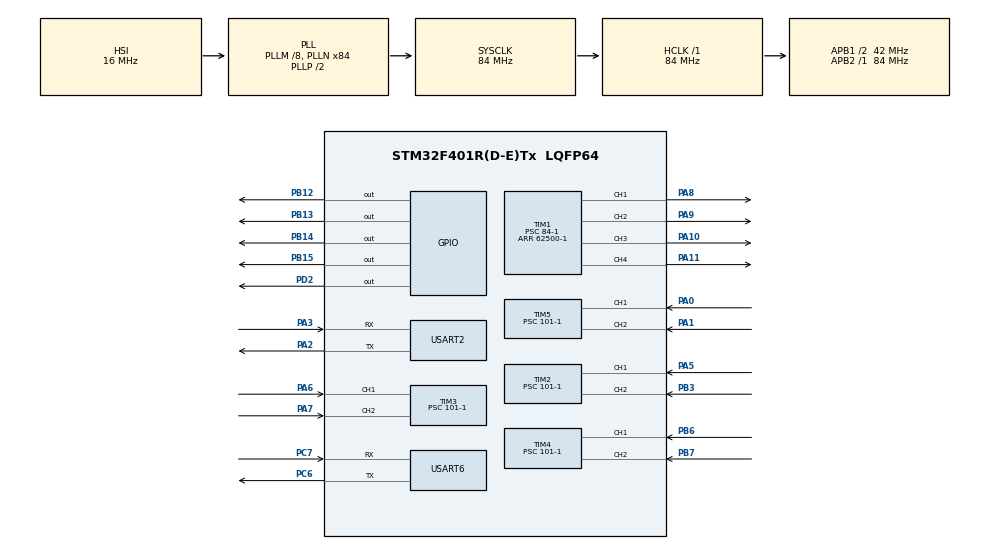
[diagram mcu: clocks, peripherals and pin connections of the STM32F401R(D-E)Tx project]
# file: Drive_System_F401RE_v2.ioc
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Dma.Request0=USART2_RX
Dma.USART2_RX.0.Direction=DMA_PERIPH_TO_MEMORY
Dma.USART2_RX.0.FIFOMode=DMA_FIFOMODE_DISABLE
Dma.USART2_RX.0.Instance=DMA1_Stream5
Dma.USART2_RX.0.MemDataAlignment=DMA_MDATAALIGN_BYTE
Dma.USART2_RX.0.MemInc=DMA_MINC_ENABLE
Dma.USART2_RX.0.Mode=DMA_CIRCULAR
Dma.USART2_RX.0.PeriphDataAlignment=DMA_PDATAALIGN_BYTE
Dma.USART2_RX.0.PeriphInc=DMA_PINC_DISABLE
Dma.USART2_RX.0.Priority=DMA_PRIORITY_HIGH
Mcu.Family=STM32F4
Mcu.Name=STM32F401R(D-E)Tx
Mcu.Package=LQFP64
NVIC.DMA1_Stream5_IRQn=true\:0\:0\:false\:false\:true\:false\:true\:true
NVIC.PriorityGroup=NVIC_PRIORITYGROUP_0
NVIC.TIM1_BRK_TIM9_IRQn=true\:0\:0\:false\:false\:true\:true\:true\:true
PA0-WKUP.Signal=S_TIM5_CH1
PA1.Signal=S_TIM5_CH2
PA10.Signal=S_TIM1_CH3
PA11.Signal=S_TIM1_CH4
PA2.Mode=Asynchronous
PA2.Signal=USART2_TX
PA3.Mode=Asynchronous
PA3.Signal=USART2_RX
PA5.Signal=S_TIM2_CH1_ETR
PA6.Signal=S_TIM3_CH1
PA7.Signal=S_TIM3_CH2
PA8.Signal=S_TIM1_CH1
PA9.Signal=S_TIM1_CH2
PB12.Signal=GPIO_Output
PB13.Signal=GPIO_Output
PB14.Signal=GPIO_Output
PB15.Signal=GPIO_Output
PB3.Signal=S_TIM2_CH2
PB6.Signal=S_TIM4_CH1
PB7.Signal=S_TIM4_CH2
PC6.Mode=Asynchronous
PC6.Signal=USART6_TX
PC7.Mode=Asynchronous
PC7.Signal=USART6_RX
PD2.Signal=GPIO_Output
ProjectManager.HeapSize=0x200
ProjectManager.StackSize=0x400
ProjectManager.TargetToolchain=STM32CubeIDE
RCC.48MHZClocksFreq_Value=24000000
RCC.AHBFreq_Value=84000000
RCC.APB1CLKDivider=RCC_HCLK_DIV2
RCC.APB1Freq_Value=42000000
RCC.APB1TimFreq_Value=84000000
RCC.APB2Freq_Value=84000000
RCC.APB2TimFreq_Value=84000000
RCC.CortexFreq_Value=84000000
RCC.HCLKFreq_Value=84000000
RCC.HSE_VALUE=8000000
RCC.HSI_VALUE=16000000
RCC.LSE_VALUE=32768
RCC.PLLM=8
RCC.PLLN=84
RCC.PLLQ=7
RCC.SYSCLKFreq_VALUE=84000000
RCC.SYSCLKSource=RCC_SYSCLKSOURCE_PLLCLK
RCC.VCOOutputFreq_Value=168000000
SH.S_TIM1_CH1.0=TIM1_CH1,PWM Generation1 CH1
SH.S_TIM1_CH2.0=TIM1_CH2,PWM Generation2 CH2
SH.S_TIM1_CH3.0=TIM1_CH3,PWM Generation3 CH3
SH.S_TIM1_CH4.0=TIM1_CH4,PWM Generation4 CH4
SH.S_TIM2_CH1_ETR.0=TIM2_CH1,Encoder_Interface
SH.S_TIM2_CH2.0=TIM2_CH2,Encoder_Interface
SH.S_TIM3_CH1.0=TIM3_CH1,Encoder_Interface
SH.S_TIM3_CH2.0=TIM3_CH2,Encoder_Interface
SH.S_TIM4_CH1.0=TIM4_CH1,Encoder_Interface
SH.S_TIM4_CH2.0=TIM4_CH2,Encoder_Interface
SH.S_TIM5_CH1.0=TIM5_CH1,Encoder_Interface
SH.S_TIM5_CH2.0=TIM5_CH2,Encoder_Interface
TIM1.Channel-PWM\ Generation1\ CH1=TIM_CHANNEL_1
TIM1.Channel-PWM\ Generation2\ CH2=TIM_CHANNEL_2
TIM1.Channel-PWM\ Generation3\ CH3=TIM_CHANNEL_3
TIM1.Channel-PWM\ Generation4\ CH4=TIM_CHANNEL_4
TIM1.Period=62500-1
TIM1.Prescaler=84-1
TIM2.AutoReloadPreload=TIM_AUTORELOAD_PRELOAD_DISABLE
TIM2.CounterMode=TIM_COUNTERMODE_UP
TIM2.EncoderMode=TIM_ENCODERMODE_TI12
TIM2.IC1Filter=10
TIM2.IC1Polarity=TIM_ICPOLARITY_RISING
TIM2.IC2Filter=10
TIM2.IC2Polarity=TIM_ICPOLARITY_RISING
TIM2.Period=65000-1
TIM2.Prescaler=101-1
TIM2.TIM_MasterOutputTrigger=TIM_TRGO_RESET
TIM2.TIM_MasterSlaveMode=TIM_MASTERSLAVEMODE_DISABLE
TIM3.AutoReloadPreload=TIM_AUTORELOAD_PRELOAD_DISABLE
TIM3.EncoderMode=TIM_ENCODERMODE_TI12
TIM3.IC1Filter=10
TIM3.IC2Filter=10
TIM3.Period=65000-1
TIM3.Prescaler=101-1
TIM4.AutoReloadPreload=TIM_AUTORELOAD_PRELOAD_DISABLE
TIM4.CounterMode=TIM_COUNTERMODE_UP
TIM4.EncoderMode=TIM_ENCODERMODE_TI12
TIM4.IC1Filter=10
TIM4.IC1Polarity=TIM_ICPOLARITY_RISING
TIM4.IC2Filter=10
TIM4.IC2Polarity=TIM_ICPOLARITY_RISING
TIM4.Period=65000-1
TIM4.Prescaler=101-1
TIM4.TIM_MasterOutputTrigger=TIM_TRGO_RESET
TIM4.TIM_MasterSlaveMode=TIM_MASTERSLAVEMODE_DISABLE
TIM5.AutoReloadPreload=TIM_AUTORELOAD_PRELOAD_DISABLE
TIM5.EncoderMode=TIM_ENCODERMODE_TI12
TIM5.IC1Filter=10
TIM5.IC2Filter=10
TIM5.Period=65000-1
TIM5.Prescaler=101-1
TIM9.AutoReloadPreload=TIM_AUTORELOAD_PRELOAD_ENABLE
TIM9.Period=4200-1
TIM9.Prescaler=2000-1
USART2.VirtualMode=VM_ASYNC
USART6.VirtualMode=VM_ASYNC
VP_TIM9_VS_ClockSourceINT.Mode=Internal
board=NUCLEO-F401RE

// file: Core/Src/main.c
/* USER CODE BEGIN Header */
/**
  ******************************************************************************
  * @file           : main.c
  * @brief          : Main program body
  ******************************************************************************
  * @attention
  *
  * Copyright (c) 2022 STMicroelectronics.
  * All rights reserved.
  *
  * This software is licensed under terms that can be found in the LICENSE file
  * in the root directory of this software component.
  * If no LICENSE file comes with this software, it is provided AS-IS.
  *
  ******************************************************************************
  */
/* USER CODE END Header */
#include "main.h"

/* USER CODE BEGIN Includes */
#include "DC_MOTORS.h"
#include "stdlib.h"
#include <stdbool.h>
#include <math.h>
/* USER CODE END Includes */

TIM_HandleTypeDef htim1;
TIM_HandleTypeDef htim2;
TIM_HandleTypeDef htim3;
TIM_HandleTypeDef htim4;
TIM_HandleTypeDef htim5;
TIM_HandleTypeDef htim9;

UART_HandleTypeDef huart2;
UART_HandleTypeDef huart6;
DMA_HandleTypeDef hdma_usart2_rx;

void SystemClock_Config(void);
static void MX_GPIO_Init(void);
static void MX_DMA_Init(void);
static void MX_USART2_UART_Init(void);
static void MX_TIM1_Init(void);
static void MX_TIM2_Init(void);
static void MX_TIM3_Init(void);
static void MX_TIM4_Init(void);
static void MX_TIM5_Init(void);
static void MX_TIM9_Init(void);
static void MX_USART6_UART_Init(void);

/* USER CODE BEGIN 0 */
volatile uint32_t LeftFront_EncoderCounter = 0;
volatile uint32_t RightFront_EncoderCounter = 0;

volatile uint32_t LeftRear_EncoderCounter = 0;
volatile uint32_t RightRear_EncoderCounter = 0;

volatile bool velocityCalculationFlag = true;

//--------------------- PID --------------------------------//

volatile bool pidFlag = false;

//float setVelocity = 3.2;

//--------------------- RX Data ----------------------------//
uint8_t rxbuff[8];
uint8_t txbuff[16];
uint8_t txempty;
uint8_t rxfull;

int32_t linear_number;
int32_t angular_number;

float linearVel_MeterDivSec = 0.0;
float angularVel_RadDivSec = 0.0;

float speedLeftWHL_1_ZEROcond = 0;
float speedLeftWHL_2_ZEROcond = 0;

float speedRightWHL_1_ZEROcond = 0;
float speedRightWHL_2_ZEROcond = 0;

float speedLeftWHL = 0;
float speedRightWHL = 0;

//float KI = 3.03;
//float KP = 21.2;

float KI = 0.019;
float KP = 0.76;

float variableFRONT = 0;
float variableREAR = 0;

//volatile uint16_t speedArrayLF[500] = {0};
//volatile uint16_t speedArrayLR[500] = {0};
//volatile uint16_t speedArrayRF[500] = {0};
//volatile uint16_t speedArrayRR[500] = {0};

//------------- TEMP ---------------//
int16_t linear_pwm_value=0;
int16_t angular_pwm_value=0;

float errorPWM_WHL1 = 0;
float errorPWM_WHL2 = 0;
float errorPWM_WHL3 = 0;
float errorPWM_WHL4 = 0;

int16_t speed_left = 0;
int16_t speed_right = 0;
//---------------------------------//

struct WHEEL L_Front_WHL = {0, 0.0, 0.0, 0.0, 0.0, 0.0, 0.0, 1525};
struct WHEEL R_Front_WHL = {0, 0.0, 0.0, 0.0, 0.0, 0.0, 0.0, 1525};
struct WHEEL L_Rear_WHL = {0, 0.0, 0.0, 0.0, 0.0, 0.0, 0.0, 1525};
struct WHEEL R_Rear_WHL = {0, 0.0, 0.0, 0.0, 0.0, 0.0, 0.0, 1525};

//---------------- TEMP -----------------------------//
uint16_t pwmValue = 1525;
uint16_t pwmValue2 = 1525;

uint16_t fuckingWait = 0;
uint8_t oneSecCounter = 0;
uint16_t arrayCounter = 0;
int address = 0x08008000;
//---------------------------------------------------//

uint32_t data1,data2;
uint32_t tim3_counter=0;
uint8_t transmitbuffer[44]={0};
uint8_t datax=0;

void HAL_UART_RxCpltCallback(UART_HandleTypeDef *huart){
  if (huart == &huart2){
    rxfull = 1;
  }
}

//        //	HAL_TIM_ACTIVE_CHANNEL_1 ||------|| HAL_TIM_ACTIVE_CHANNEL_2
//        //	   	         				|  |
//        //		         				|  |
//        //	HAL_TIM_ACTIVE_CHANNEL_3 ||------|| HAL_TIM_ACTIVE_CHANNEL_4

void HAL_TIM_PeriodElapsedCallback(TIM_HandleTypeDef *htim){
	velocityCalculationFlag = true;
}

void my_transmit(void);

/* USER CODE END 0 */

int main(void)
{
  /* USER CODE BEGIN 1 */

//        	0,2,4,6 IN1 for forward
//        	1,3,5,7 IN2 for backward
//
//          Left (+) a. vel.		Right (-) a. vel.
//
//        	Pin_B 0,1 ||------|| Pin_B 4,5
//        	   	         |  |
//        		         |  |
//        	Pin_B 2,3 ||------|| Pin_B 6,7

  /* USER CODE END 1 */

  /* MCU Configuration--------------------------------------------------------*/

  /* Reset of all peripherals, Initializes the Flash interface and the Systick. */
  HAL_Init();

  /* Configure the system clock */
  SystemClock_Config();

  /* Initialize all configured peripherals */
  MX_GPIO_Init();
  MX_DMA_Init();
  MX_USART2_UART_Init();
  MX_TIM1_Init();
  MX_TIM2_Init();
  MX_TIM3_Init();
  MX_TIM4_Init();
  MX_TIM5_Init();
  MX_TIM9_Init();
  MX_USART6_UART_Init();
  /* USER CODE BEGIN 2 */
  HAL_TIM_PWM_Start(&htim1, TIM_CHANNEL_1);
  HAL_TIM_PWM_Start(&htim1, TIM_CHANNEL_2);
  HAL_TIM_PWM_Start(&htim1, TIM_CHANNEL_3);
  HAL_TIM_PWM_Start(&htim1, TIM_CHANNEL_4);

  /*------------------------ Encoders -------------------------*/
  HAL_TIM_Encoder_Start(&htim2, TIM_CHANNEL_1);
  HAL_TIM_Encoder_Start(&htim2, TIM_CHANNEL_2);

  HAL_TIM_Encoder_Start(&htim3, TIM_CHANNEL_1);
  HAL_TIM_Encoder_Start(&htim3, TIM_CHANNEL_2);

  HAL_TIM_Encoder_Start(&htim4, TIM_CHANNEL_1);
  HAL_TIM_Encoder_Start(&htim4, TIM_CHANNEL_2);

  HAL_TIM_Encoder_Start(&htim5, TIM_CHANNEL_1);
  HAL_TIM_Encoder_Start(&htim5, TIM_CHANNEL_2);

  HAL_TIM_Base_Start_IT(&htim9);

  HAL_UART_Receive_DMA(&huart2, rxbuff, 8);
  rxfull = 0;

  //HAL_Delay(10000);

  /* USER CODE END 2 */

  /* Infinite loop */
  while (1)
  {

    /* USER CODE BEGIN 3 */
      if (rxfull == 1){
        rxfull = 0;
        linear_number = (int32_t)(rxbuff[0]<<24) + (int32_t)(rxbuff[1]<<16) + (int32_t)(rxbuff[2]<<8) + rxbuff[3];
        angular_number = (int32_t)(rxbuff[4]<<24) + (int32_t)(rxbuff[5]<<16) + (int32_t)(rxbuff[6]<<8) + rxbuff[7];

        linearVel_MeterDivSec = ((float)linear_number/1000000.0); // x10
        angularVel_RadDivSec = ((float)angular_number/1000000.0); // x10

     }

	TIM1->CCR1 = R_Rear_WHL.signalPWM;
	TIM1->CCR2 = R_Front_WHL.signalPWM;
//	TIM1->CCR3 = L_Rear_WHL.signalPWM;
//	TIM1->CCR4 = L_Front_WHL.signalPWM;

//	TIM1->CCR1 = pwmValue;
//	TIM1->CCR2 = pwmValue;
//	TIM1->CCR3 = pwmValue2;
//	TIM1->CCR4 = pwmValue2;

     if(velocityCalculationFlag){

    	 /*fuckingWait += 1;
    	 oneSecCounter +=1;

    	 if(fuckingWait >= 100){
    		 fuckingWait = 0;
    		 if(pwmValue < 1900){
    			 pwmValue += 10;
    			 pwmValue2 -= 10;
    		 }
    		 else{
    			 pwmValue = 1525;
    			 pwmValue2 = 1525;
    			 HAL_Delay(100000);
    		 }

    	 }
    	 if(oneSecCounter >= 10){
    		 oneSecCounter = 0;

    		 if(arrayCounter < 500){
        		 speedArrayLF[arrayCounter] = (uint16_t)(L_Front_WHL.wheelRadDivSec 	* 100);
        		 speedArrayLR[arrayCounter] = (uint16_t)(L_Rear_WHL.wheelRadDivSec 		* 100);
        		 speedArrayRF[arrayCounter] = (uint16_t)(R_Front_WHL.wheelRadDivSec 	* 100);
        		 speedArrayRR[arrayCounter] = (uint16_t)(R_Rear_WHL.wheelRadDivSec 		* 100);
        			HAL_FLASH_Unlock();
        			HAL_FLASH_Program(FLASH_TYPEPROGRAM_HALFWORD, address, speedArrayLF[arrayCounter]);
        			address += 2;
        			HAL_FLASH_Program(FLASH_TYPEPROGRAM_HALFWORD, address, speedArrayLR[arrayCounter]);
        			address += 2;
        			HAL_FLASH_Program(FLASH_TYPEPROGRAM_HALFWORD, address, speedArrayRF[arrayCounter]);
        			address += 2;
        			HAL_FLASH_Program(FLASH_TYPEPROGRAM_HALFWORD, address, speedArrayRR[arrayCounter]);
        			address += 2;
        			HAL_FLASH_Lock();
        		 arrayCounter += 1;
    		 }

    	 }*/

    	 speedLeftWHL = (linearVel_MeterDivSec + angularVel_RadDivSec);
    	 speedRightWHL = (linearVel_MeterDivSec - angularVel_RadDivSec);

		 LeftFront_EncoderCounter = __HAL_TIM_GET_COUNTER(&htim2);
		 if(LeftFront_EncoderCounter>30000)
		 {
			 LeftFront_EncoderCounter = 65000 - LeftFront_EncoderCounter;
		 }
		 LeftRear_EncoderCounter = __HAL_TIM_GET_COUNTER(&htim4);
		 if(LeftRear_EncoderCounter>30000)
		 {
			 LeftRear_EncoderCounter = 65000 - LeftRear_EncoderCounter;
		 }
		 RightFront_EncoderCounter = __HAL_TIM_GET_COUNTER(&htim3);
		 if(RightFront_EncoderCounter>30000)
		 {
			 RightFront_EncoderCounter = 65000 - RightFront_EncoderCounter;
		 }
		 RightRear_EncoderCounter = __HAL_TIM_GET_COUNTER(&htim5);
		 if(RightRear_EncoderCounter>30000)
		 {
			 RightRear_EncoderCounter = 65000 - RightRear_EncoderCounter;
		 }

		TIM2->CNT = 0;
		TIM3->CNT = 0;
		TIM4->CNT = 0;
		TIM5->CNT = 0;

    	 //------------------------------------------- 1 ---------------------------------------//

//		 L_Front_WHL.encoderCount = LeftFront_EncoderCounter;
//		 //LeftFront_EncoderCounter = 0; // clear the counter
//
//		 //L_Front_WHL.rotationEncoder = ((float)L_Front_WHL.encoderCount*100.0)/(4096.0); // not necessary, just for control
//		 L_Front_WHL.rotationWheel = ((float)L_Front_WHL.encoderCount)/(4096.0);
//
//
//		 // check the math
//		 L_Front_WHL.wheelRPM = (L_Front_WHL.rotationWheel)*600.0;
//		 L_Front_WHL.wheelRadDivSec = (L_Front_WHL.wheelRPM)*RPMtoRadDivSec;
//
//		 errorPWM_WHL1 = (fabs(speedLeftWHL)) - L_Front_WHL.wheelRadDivSec;
//
//		 L_Front_WHL.errorPI = round(240/8.94*errorPWM_WHL1 + 23.6241);
//		 L_Front_WHL.integralPI += L_Front_WHL.errorPI;
//
//		 //pwmSignal = Kp*error + Ki*integral;
//		 if(speedLeftWHL > 0)
//			 L_Front_WHL.signalPWM = 1525 + fabs(KP*L_Front_WHL.errorPI + KI*L_Front_WHL.integralPI);
//		 else if(speedLeftWHL == 0){		// ??? check this condition
//			 L_Front_WHL.signalPWM = 1525;
//		 	 L_Front_WHL.integralPI = 0;
//		 }
//		 else
//			 L_Front_WHL.signalPWM = 1525 - fabs(KP*L_Front_WHL.errorPI + KI*L_Front_WHL.integralPI);
//
//		 if(L_Front_WHL.signalPWM > 2000)
//			 L_Front_WHL.signalPWM = 1900;
//		 if(L_Front_WHL.signalPWM < 1000)
//			 L_Front_WHL.signalPWM = 1100;

		 //------------------------------------------- 2 ---------------------------------------//
		 R_Front_WHL.encoderCount = RightFront_EncoderCounter;
		 //RightFront_EncoderCounter = 0; // clear the counter

		 //R_Front_WHL.rotationEncoder = ((float)R_Front_WHL.encoderCount*100.0)/(4096.0);
		 R_Front_WHL.rotationWheel = ((float)R_Front_WHL.encoderCount)/(4096.0); // not necessary, just for control

		 // check the math
		 R_Front_WHL.wheelRPM = (R_Front_WHL.rotationWheel)*600.0;
		 R_Front_WHL.wheelRadDivSec = (R_Front_WHL.wheelRPM)*RPMtoRadDivSec;

		 R_Front_WHL.errorPI = (fabs(speedRightWHL)) - R_Front_WHL.wheelRadDivSec;
		 R_Front_WHL.integralPI += R_Front_WHL.errorPI;

//		 errorPWM_WHL2 = ((fabs(speedRightWHL)) - R_Front_WHL.wheelRadDivSec);
//
//		 R_Front_WHL.errorPI = round((240.0/8.94)*fabs(errorPWM_WHL2) + 23.6241);
//
//		 R_Front_WHL.integralPI += R_Front_WHL.errorPI;

		 //pwmSignal = Kp*error + Ki*integral;
		 if(speedRightWHL > 0)
			 R_Front_WHL.signalPWM = 1525 + round((240.0/8.94)*fabs(KPzzzzzzujhb                                                bbbbbbbbbbbbbbbbbbbbbbbbbb                                                        ::5*R_Front_WHL.errorPI + KI*R_Front_WHL.integralPI) + 23.6241);
		 else if(speedRightWHL == 0){		// ??? check this condition
			 R_Front_WHL.signalPWM = 1525;
		 	 R_Front_WHL.integralPI = 0;
		 }
		 else
			 R_Front_WHL.signalPWM = 1525 - round((240.0/8.94)*fabs(KP*R_Front_WHL.errorPI + KI*R_Front_WHL.integralPI) + 23.6241);

		 if(R_Front_WHL.signalPWM > 2000)
			 R_Front_WHL.signalPWM = 1900;
		 if(R_Front_WHL.signalPWM < 1000)
			 R_Front_WHL.signalPWM = 1100;
		 //------------------------------------------- 3 ---------------------------------------//
//		 L_Rear_WHL.encoderCount = LeftRear_EncoderCounter;
//		 //LeftRear_EncoderCounter = 0; // clear the counter
//
//		 //L_Rear_WHL.rotationEncoder = ((float)L_Rear_WHL.encoderCount*100.0)/(4096.0); // not necessary, just for control
//		 L_Rear_WHL.rotationWheel = ((float)L_Rear_WHL.encoderCount)/(4096.0); // 1024*4
//
//		 // check the math
//		 L_Rear_WHL.wheelRPM = (L_Rear_WHL.rotationWheel)*600.0; // 60 sec * 10 msec
//		 L_Rear_WHL.wheelRadDivSec = (L_Rear_WHL.wheelRPM)*RPMtoRadDivSec;
//
//		 errorPWM_WHL3 = (fabs(speedLeftWHL)) - L_Rear_WHL.wheelRadDivSec;
//
//		 //23.6241
//		 L_Rear_WHL.errorPI = round(240/8.94*errorPWM_WHL3);
//		 L_Rear_WHL.integralPI += L_Rear_WHL.errorPI;
//
//		 //pwmSignal = Kp*error + Ki*integral;
//		 if(speedLeftWHL > 0)
//			 L_Rear_WHL.signalPWM = 1525 + fabs(KP*L_Rear_WHL.errorPI + KI*L_Rear_WHL.integralPI);
//		 else if(speedLeftWHL == 0){		// ??? check this condition
//			 L_Rear_WHL.signalPWM = 1525;
//		 	 L_Rear_WHL.integralPI = 0;
//		 }
//		 else
//			 L_Rear_WHL.signalPWM = 1525 - fabs(KP*L_Rear_WHL.errorPI + KI*L_Rear_WHL.integralPI);
//
//		 if(L_Rear_WHL.signalPWM > 2000)
//			 L_Rear_WHL.signalPWM = 1900;
//		 if(L_Rear_WHL.signalPWM < 1000)
//			 L_Rear_WHL.signalPWM = 1100;
		 //------------------------------------------- 4 ---------------------------------------//
		 R_Rear_WHL.encoderCount = RightRear_EncoderCounter;
		 //RightRear_EncoderCounter = 0; // clear the counter

		 //R_Rear_WHL.rotationEncoder = ((float)R_Rear_WHL.encoderCount*100.0)/(4096.0); // not necessary, just for control
		 R_Rear_WHL.rotationWheel = ((float)R_Rear_WHL.encoderCount)/(4096.0);

		 // check the math
		 R_Rear_WHL.wheelRPM = (R_Rear_WHL.rotationWheel)*600.0;
		 R_Rear_WHL.wheelRadDivSec = (R_Rear_WHL.wheelRPM)*RPMtoRadDivSec;

 		 R_Rear_WHL.errorPI = (fabs(speedRightWHL)) - R_Rear_WHL.wheelRadDivSec;
 		 R_Rear_WHL.integralPI += R_Rear_WHL.errorPI;
//		 errorPWM_WHL4 = (fabs(speedRightWHL)) - R_Rear_WHL.wheelRadDivSec;
//
//		 R_Rear_WHL.errorPI = round((240.0/8.94)*fabs(errorPWM_WHL4) + 23.6241);
//		 R_Rear_WHL.integralPI += R_Rear_WHL.errorPI;

		 //variableREAR = (KP*R_Rear_WHL.errorPI + KI*R_Rear_WHL.integralPI);

		 //pwmSignal = Kp*error + Ki*integral;
		 if(speedRightWHL > 0)
			 R_Rear_WHL.signalPWM = 1525 + round((240.0/8.94)*fabs(KP*R_Rear_WHL.errorPI + KI*R_Rear_WHL.integralPI) + 23.6241);
			 //R_Rear_WHL.signalPWM = 1525 + abs(KP*R_Rear_WHL.errorPI + KI*R_Rear_WHL.integralPI);
		 else if(speedRightWHL == 0){		// ??? check this condition
			 R_Rear_WHL.signalPWM = 1525;
			 R_Rear_WHL.integralPI = 0;
		 }
		 else
			 R_Rear_WHL.signalPWM = 1525 - round((240.0/8.94)*fabs(KP*R_Rear_WHL.errorPI + KI*R_Rear_WHL.integralPI) + 23.6241);;

		 if(R_Rear_WHL.signalPWM > 2000)
			 R_Rear_WHL.signalPWM = 1900;
		 if(R_Rear_WHL.signalPWM < 1000)
			 R_Rear_WHL.signalPWM = 1100;

		 velocityCalculationFlag = false;

		 variableFRONT = speedRightWHL - R_Front_WHL.wheelRadDivSec;
		 variableREAR = speedRightWHL - R_Rear_WHL.wheelRadDivSec;

		 //UART gönderilen datalar
		 /*
		  * linear_number (int32_t)
		  * angular_number (int32_t)
		  * encodercount (uint32_t)
		  * wheelRadDivSec (float,x100,uint16_t)
		  * toplam = 34 byte
		  */
		 //my_transmit();

     }
  }
  /* USER CODE END 3 */
}

void SystemClock_Config(void)
{
  RCC_OscInitTypeDef RCC_OscInitStruct = {0};
  RCC_ClkInitTypeDef RCC_ClkInitStruct = {0};

  /** Configure the main internal regulator output voltage
  */
  __HAL_RCC_PWR_CLK_ENABLE();
  __HAL_PWR_VOLTAGESCALING_CONFIG(PWR_REGULATOR_VOLTAGE_SCALE2);

  /** Initializes the RCC Oscillators according to the specified parameters
  * in the RCC_OscInitTypeDef structure.
  */
  RCC_OscInitStruct.OscillatorType = RCC_OSCILLATORTYPE_HSI;
  RCC_OscInitStruct.HSIState = RCC_HSI_ON;
  RCC_OscInitStruct.HSICalibrationValue = RCC_HSICALIBRATION_DEFAULT;
  RCC_OscInitStruct.PLL.PLLState = RCC_PLL_ON;
  RCC_OscInitStruct.PLL.PLLSource = RCC_PLLSOURCE_HSI;
  RCC_OscInitStruct.PLL.PLLM = 8;
  RCC_OscInitStruct.PLL.PLLN = 84;
  RCC_OscInitStruct.PLL.PLLP = RCC_PLLP_DIV2;
  RCC_OscInitStruct.PLL.PLLQ = 7;
  if (HAL_RCC_OscConfig(&RCC_OscInitStruct) != HAL_OK)
  {
    Error_Handler();
  }

  /** Initializes the CPU, AHB and APB buses clocks
  */
  RCC_ClkInitStruct.ClockType = RCC_CLOCKTYPE_HCLK|RCC_CLOCKTYPE_SYSCLK
                              |RCC_CLOCKTYPE_PCLK1|RCC_CLOCKTYPE_PCLK2;
  RCC_ClkInitStruct.SYSCLKSource = RCC_SYSCLKSOURCE_PLLCLK;
  RCC_ClkInitStruct.AHBCLKDivider = RCC_SYSCLK_DIV1;
  RCC_ClkInitStruct.APB1CLKDivider = RCC_HCLK_DIV2;
  RCC_ClkInitStruct.APB2CLKDivider = RCC_HCLK_DIV1;

  if (HAL_RCC_ClockConfig(&RCC_ClkInitStruct, FLASH_LATENCY_2) != HAL_OK)
  {
    Error_Handler();
  }
}

static void MX_TIM1_Init(void)
{

  TIM_MasterConfigTypeDef sMasterConfig = {0};
  TIM_OC_InitTypeDef sConfigOC = {0};
  TIM_BreakDeadTimeConfigTypeDef sBreakDeadTimeConfig = {0};

  htim1.Instance = TIM1;
  htim1.Init.Prescaler = 84-1;
  htim1.Init.CounterMode = TIM_COUNTERMODE_UP;
  htim1.Init.Period = 62500-1;
  htim1.Init.ClockDivision = TIM_CLOCKDIVISION_DIV1;
  htim1.Init.RepetitionCounter = 0;
  htim1.Init.AutoReloadPreload = TIM_AUTORELOAD_PRELOAD_DISABLE;
  if (HAL_TIM_PWM_Init(&htim1) != HAL_OK)
  {
    Error_Handler();
  }
  sMasterConfig.MasterOutputTrigger = TIM_TRGO_RESET;
  sMasterConfig.MasterSlaveMode = TIM_MASTERSLAVEMODE_DISABLE;
  if (HAL_TIMEx_MasterConfigSynchronization(&htim1, &sMasterConfig) != HAL_OK)
  {
    Error_Handler();
  }
  sConfigOC.OCMode = TIM_OCMODE_PWM1;
  sConfigOC.Pulse = 0;
  sConfigOC.OCPolarity = TIM_OCPOLARITY_HIGH;
  sConfigOC.OCNPolarity = TIM_OCNPOLARITY_HIGH;
  sConfigOC.OCFastMode = TIM_OCFAST_DISABLE;
  sConfigOC.OCIdleState = TIM_OCIDLESTATE_RESET;
  sConfigOC.OCNIdleState = TIM_OCNIDLESTATE_RESET;
  if (HAL_TIM_PWM_ConfigChannel(&htim1, &sConfigOC, TIM_CHANNEL_1) != HAL_OK)
  {
    Error_Handler();
  }
  if (HAL_TIM_PWM_ConfigChannel(&htim1, &sConfigOC, TIM_CHANNEL_2) != HAL_OK)
  {
    Error_Handler();
  }
  if (HAL_TIM_PWM_ConfigChannel(&htim1, &sConfigOC, TIM_CHANNEL_3) != HAL_OK)
  {
    Error_Handler();
  }
  if (HAL_TIM_PWM_ConfigChannel(&htim1, &sConfigOC, TIM_CHANNEL_4) != HAL_OK)
  {
    Error_Handler();
  }
  sBreakDeadTimeConfig.OffStateRunMode = TIM_OSSR_DISABLE;
  sBreakDeadTimeConfig.OffStateIDLEMode = TIM_OSSI_DISABLE;
  sBreakDeadTimeConfig.LockLevel = TIM_LOCKLEVEL_OFF;
  sBreakDeadTimeConfig.DeadTime = 0;
  sBreakDeadTimeConfig.BreakState = TIM_BREAK_DISABLE;
  sBreakDeadTimeConfig.BreakPolarity = TIM_BREAKPOLARITY_HIGH;
  sBreakDeadTimeConfig.AutomaticOutput = TIM_AUTOMATICOUTPUT_DISABLE;
  if (HAL_TIMEx_ConfigBreakDeadTime(&htim1, &sBreakDeadTimeConfig) != HAL_OK)
  {
    Error_Handler();
  }
  HAL_TIM_MspPostInit(&htim1);

}

static void MX_TIM2_Init(void)
{

  TIM_Encoder_InitTypeDef sConfig = {0};
  TIM_MasterConfigTypeDef sMasterConfig = {0};

  htim2.Instance = TIM2;
  htim2.Init.Prescaler = 101-1;
  htim2.Init.CounterMode = TIM_COUNTERMODE_UP;
  htim2.Init.Period = 65000-1;
  htim2.Init.ClockDivision = TIM_CLOCKDIVISION_DIV1;
  htim2.Init.AutoReloadPreload = TIM_AUTORELOAD_PRELOAD_DISABLE;
  sConfig.EncoderMode = TIM_ENCODERMODE_TI12;
  sConfig.IC1Polarity = TIM_ICPOLARITY_RISING;
  sConfig.IC1Selection = TIM_ICSELECTION_DIRECTTI;
  sConfig.IC1Prescaler = TIM_ICPSC_DIV1;
  sConfig.IC1Filter = 10;
  sConfig.IC2Polarity = TIM_ICPOLARITY_RISING;
  sConfig.IC2Selection = TIM_ICSELECTION_DIRECTTI;
  sConfig.IC2Prescaler = TIM_ICPSC_DIV1;
  sConfig.IC2Filter = 10;
  if (HAL_TIM_Encoder_Init(&htim2, &sConfig) != HAL_OK)
  {
    Error_Handler();
  }
  sMasterConfig.MasterOutputTrigger = TIM_TRGO_RESET;
  sMasterConfig.MasterSlaveMode = TIM_MASTERSLAVEMODE_DISABLE;
  if (HAL_TIMEx_MasterConfigSynchronization(&htim2, &sMasterConfig) != HAL_OK)
  {
    Error_Handler();
  }

}

static void MX_TIM3_Init(void)
{

  TIM_Encoder_InitTypeDef sConfig = {0};
  TIM_MasterConfigTypeDef sMasterConfig = {0};

  htim3.Instance = TIM3;
  htim3.Init.Prescaler = 101-1;
  htim3.Init.CounterMode = TIM_COUNTERMODE_UP;
  htim3.Init.Period = 65000-1;
  htim3.Init.ClockDivision = TIM_CLOCKDIVISION_DIV1;
  htim3.Init.AutoReloadPreload = TIM_AUTORELOAD_PRELOAD_DISABLE;
  sConfig.EncoderMode = TIM_ENCODERMODE_TI12;
  sConfig.IC1Polarity = TIM_ICPOLARITY_RISING;
  sConfig.IC1Selection = TIM_ICSELECTION_DIRECTTI;
  sConfig.IC1Prescaler = TIM_ICPSC_DIV1;
  sConfig.IC1Filter = 10;
  sConfig.IC2Polarity = TIM_ICPOLARITY_RISING;
  sConfig.IC2Selection = TIM_ICSELECTION_DIRECTTI;
  sConfig.IC2Prescaler = TIM_ICPSC_DIV1;
  sConfig.IC2Filter = 10;
  if (HAL_TIM_Encoder_Init(&htim3, &sConfig) != HAL_OK)
  {
    Error_Handler();
  }
  sMasterConfig.MasterOutputTrigger = TIM_TRGO_RESET;
  sMasterConfig.MasterSlaveMode = TIM_MASTERSLAVEMODE_DISABLE;
  if (HAL_TIMEx_MasterConfigSynchronization(&htim3, &sMasterConfig) != HAL_OK)
  {
    Error_Handler();
  }

}

static void MX_TIM4_Init(void)
{

  TIM_Encoder_InitTypeDef sConfig = {0};
  TIM_MasterConfigTypeDef sMasterConfig = {0};

  htim4.Instance = TIM4;
  htim4.Init.Prescaler = 101-1;
  htim4.Init.CounterMode = TIM_COUNTERMODE_UP;
  htim4.Init.Period = 65000-1;
  htim4.Init.ClockDivision = TIM_CLOCKDIVISION_DIV1;
  htim4.Init.AutoReloadPreload = TIM_AUTORELOAD_PRELOAD_DISABLE;
  sConfig.EncoderMode = TIM_ENCODERMODE_TI12;
  sConfig.IC1Polarity = TIM_ICPOLARITY_RISING;
  sConfig.IC1Selection = TIM_ICSELECTION_DIRECTTI;
  sConfig.IC1Prescaler = TIM_ICPSC_DIV1;
  sConfig.IC1Filter = 10;
  sConfig.IC2Polarity = TIM_ICPOLARITY_RISING;
  sConfig.IC2Selection = TIM_ICSELECTION_DIRECTTI;
  sConfig.IC2Prescaler = TIM_ICPSC_DIV1;
  sConfig.IC2Filter = 10;
  if (HAL_TIM_Encoder_Init(&htim4, &sConfig) != HAL_OK)
  {
    Error_Handler();
  }
  sMasterConfig.MasterOutputTrigger = TIM_TRGO_RESET;
  sMasterConfig.MasterSlaveMode = TIM_MASTERSLAVEMODE_DISABLE;
  if (HAL_TIMEx_MasterConfigSynchronization(&htim4, &sMasterConfig) != HAL_OK)
  {
    Error_Handler();
  }

}

static void MX_TIM5_Init(void)
{

  TIM_Encoder_InitTypeDef sConfig = {0};
  TIM_MasterConfigTypeDef sMasterConfig = {0};

  htim5.Instance = TIM5;
  htim5.Init.Prescaler = 101-1;
  htim5.Init.CounterMode = TIM_COUNTERMODE_UP;
  htim5.Init.Period = 65000-1;
  htim5.Init.ClockDivision = TIM_CLOCKDIVISION_DIV1;
  htim5.Init.AutoReloadPreload = TIM_AUTORELOAD_PRELOAD_DISABLE;
  sConfig.EncoderMode = TIM_ENCODERMODE_TI12;
  sConfig.IC1Polarity = TIM_ICPOLARITY_RISING;
  sConfig.IC1Selection = TIM_ICSELECTION_DIRECTTI;
  sConfig.IC1Prescaler = TIM_ICPSC_DIV1;
  sConfig.IC1Filter = 10;
  sConfig.IC2Polarity = TIM_ICPOLARITY_RISING;
  sConfig.IC2Selection = TIM_ICSELECTION_DIRECTTI;
  sConfig.IC2Prescaler = TIM_ICPSC_DIV1;
  sConfig.IC2Filter = 10;
  if (HAL_TIM_Encoder_Init(&htim5, &sConfig) != HAL_OK)
  {
    Error_Handler();
  }
  sMasterConfig.MasterOutputTrigger = TIM_TRGO_RESET;
  sMasterConfig.MasterSlaveMode = TIM_MASTERSLAVEMODE_DISABLE;
  if (HAL_TIMEx_MasterConfigSynchronization(&htim5, &sMasterConfig) != HAL_OK)
  {
    Error_Handler();
  }

}

static void MX_TIM9_Init(void)
{

  TIM_ClockConfigTypeDef sClockSourceConfig = {0};

  htim9.Instance = TIM9;
  htim9.Init.Prescaler = 2000-1;
  htim9.Init.CounterMode = TIM_COUNTERMODE_UP;
  htim9.Init.Period = 4200-1;
  htim9.Init.ClockDivision = TIM_CLOCKDIVISION_DIV1;
  htim9.Init.AutoReloadPreload = TIM_AUTORELOAD_PRELOAD_ENABLE;
  if (HAL_TIM_Base_Init(&htim9) != HAL_OK)
  {
    Error_Handler();
  }
  sClockSourceConfig.ClockSource = TIM_CLOCKSOURCE_INTERNAL;
  if (HAL_TIM_ConfigClockSource(&htim9, &sClockSourceConfig) != HAL_OK)
  {
    Error_Handler();
  }

}

static void MX_USART2_UART_Init(void)
{

  huart2.Instance = USART2;
  huart2.Init.BaudRate = 115200;
  huart2.Init.WordLength = UART_WORDLENGTH_8B;
  huart2.Init.StopBits = UART_STOPBITS_1;
  huart2.Init.Parity = UART_PARITY_NONE;
  huart2.Init.Mode = UART_MODE_TX_RX;
  huart2.Init.HwFlowCtl = UART_HWCONTROL_NONE;
  huart2.Init.OverSampling = UART_OVERSAMPLING_16;
  if (HAL_UART_Init(&huart2) != HAL_OK)
  {
    Error_Handler();
  }

}

static void MX_USART6_UART_Init(void)
{

  huart6.Instance = USART6;
  huart6.Init.BaudRate = 115200;
  huart6.Init.WordLength = UART_WORDLENGTH_8B;
  huart6.Init.StopBits = UART_STOPBITS_1;
  huart6.Init.Parity = UART_PARITY_NONE;
  huart6.Init.Mode = UART_MODE_TX_RX;
  huart6.Init.HwFlowCtl = UART_HWCONTROL_NONE;
  huart6.Init.OverSampling = UART_OVERSAMPLING_16;
  if (HAL_UART_Init(&huart6) != HAL_OK)
  {
    Error_Handler();
  }

}

static void MX_DMA_Init(void)
{

  /* DMA controller clock enable */
  __HAL_RCC_DMA1_CLK_ENABLE();

  /* DMA interrupt init */
  /* DMA1_Stream5_IRQn interrupt configuration */
  HAL_NVIC_SetPriority(DMA1_Stream5_IRQn, 0, 0);
  HAL_NVIC_EnableIRQ(DMA1_Stream5_IRQn);

}

static void MX_GPIO_Init(void)
{
  GPIO_InitTypeDef GPIO_InitStruct = {0};

  /* GPIO Ports Clock Enable */
  __HAL_RCC_GPIOA_CLK_ENABLE();
  __HAL_RCC_GPIOB_CLK_ENABLE();
  __HAL_RCC_GPIOC_CLK_ENABLE();
  __HAL_RCC_GPIOD_CLK_ENABLE();

  /*Configure GPIO pin Output Level */
  HAL_GPIO_WritePin(GPIOB, GPIO_PIN_12|GPIO_PIN_13|GPIO_PIN_14|GPIO_PIN_15, GPIO_PIN_RESET);

  /*Configure GPIO pin Output Level */
  HAL_GPIO_WritePin(GPIOD, GPIO_PIN_2, GPIO_PIN_RESET);

  /*Configure GPIO pins : PB12 PB13 PB14 PB15 */
  GPIO_InitStruct.Pin = GPIO_PIN_12|GPIO_PIN_13|GPIO_PIN_14|GPIO_PIN_15;
  GPIO_InitStruct.Mode = GPIO_MODE_OUTPUT_PP;
  GPIO_InitStruct.Pull = GPIO_NOPULL;
  GPIO_InitStruct.Speed = GPIO_SPEED_FREQ_LOW;
  HAL_GPIO_Init(GPIOB, &GPIO_InitStruct);

  /*Configure GPIO pin : PD2 */
  GPIO_InitStruct.Pin = GPIO_PIN_2;
  GPIO_InitStruct.Mode = GPIO_MODE_OUTPUT_PP;
  GPIO_InitStruct.Pull = GPIO_NOPULL;
  GPIO_InitStruct.Speed = GPIO_SPEED_FREQ_LOW;
  HAL_GPIO_Init(GPIOD, &GPIO_InitStruct);

}

/* USER CODE BEGIN 4 */

void my_transmit(void)
{
			 transmitbuffer[0]='G';
			 transmitbuffer[1]='G';
			 transmitbuffer[2]='T';
		 	 transmitbuffer[3]='U';

			 transmitbuffer[4]=(uint8_t)((linear_number>>24) & 0x000000FF);
			 transmitbuffer[5]=(uint8_t)((linear_number>>16) & 0x000000FF);
			 transmitbuffer[6]=(uint8_t)((linear_number>>8) & 0x000000FF);
			 transmitbuffer[7]=(uint8_t)(linear_number & 0x000000FF);

			 transmitbuffer[8]=(uint8_t)((angular_number>>24) & 0x000000FF);
			 transmitbuffer[9]=(uint8_t)((angular_number>>16) & 0x000000FF);
			 transmitbuffer[10]=(uint8_t)((angular_number>>8) & 0x000000FF);
			 transmitbuffer[11]=(uint8_t)(angular_number & 0x000000FF);

			 transmitbuffer[12]=(uint8_t)((L_Front_WHL.encoderCount>>24) & 0x000000FF);
			 transmitbuffer[13]=(uint8_t)((L_Front_WHL.encoderCount>>16) & 0x000000FF);
			 transmitbuffer[14]=(uint8_t)((L_Front_WHL.encoderCount>>8) & 0x000000FF);
			 transmitbuffer[15]=(uint8_t)(L_Front_WHL.encoderCount & 0x000000FF);

			 transmitbuffer[16]=(uint8_t)((L_Rear_WHL.encoderCount>>24) & 0x000000FF);
			 transmitbuffer[17]=(uint8_t)((L_Rear_WHL.encoderCount>>16) & 0x000000FF);
			 transmitbuffer[18]=(uint8_t)((L_Rear_WHL.encoderCount>>8) & 0x000000FF);
			 transmitbuffer[19]=(uint8_t)(L_Rear_WHL.encoderCount & 0x000000FF);

			 transmitbuffer[20]=(uint8_t)((R_Front_WHL.encoderCount>>24) & 0x000000FF);
			 transmitbuffer[21]=(uint8_t)((R_Front_WHL.encoderCount>>16) & 0x000000FF);
			 transmitbuffer[22]=(uint8_t)((R_Front_WHL.encoderCount>>8) & 0x000000FF);
			 transmitbuffer[23]=(uint8_t)(R_Front_WHL.encoderCount & 0x000000FF);

			 transmitbuffer[24]=(uint8_t)((R_Rear_WHL.encoderCount>>24) & 0x000000FF);
			 transmitbuffer[25]=(uint8_t)((R_Rear_WHL.encoderCount>>16) & 0x000000FF);
			 transmitbuffer[26]=(uint8_t)((R_Rear_WHL.encoderCount>>8) & 0x000000FF);
			 transmitbuffer[27]=(uint8_t)(R_Rear_WHL.encoderCount & 0x000000FF);

			 int16_t temp = 0;

			 temp = (int16_t)(L_Front_WHL.wheelRadDivSec * 100.0);
			 transmitbuffer[28]=(uint8_t)((temp>>8) & 0x00FF);
			 transmitbuffer[29]=(uint8_t)(temp & 0x00FF);

			 temp = (int16_t)(L_Rear_WHL.wheelRadDivSec * 100.0);
			 transmitbuffer[30]=(uint8_t)((temp>>8) & 0x00FF);
			 transmitbuffer[31]=(uint8_t)(temp & 0x00FF);

			 temp = (int16_t)(R_Front_WHL.wheelRadDivSec * 100.0);
			 transmitbuffer[32]=(uint8_t)((temp>>8) & 0x00FF);
			 transmitbuffer[33]=(uint8_t)(temp & 0x00FF);

			 temp = (int16_t)(R_Rear_WHL.wheelRadDivSec * 100.0);
			 transmitbuffer[34]=(uint8_t)((temp>>8) & 0x00FF);
			 transmitbuffer[35]=(uint8_t)(temp & 0x00FF);

			 transmitbuffer[36]=(uint8_t)((L_Front_WHL.signalPWM>>8) & 0x000000FF);
			 transmitbuffer[37]=(uint8_t)(L_Front_WHL.signalPWM & 0x000000FF);

			 transmitbuffer[38]=(uint8_t)((L_Rear_WHL.signalPWM>>8) & 0x000000FF);
			 transmitbuffer[39]=(uint8_t)(L_Rear_WHL.signalPWM & 0x000000FF);

			 transmitbuffer[40]=(uint8_t)((R_Front_WHL.signalPWM>>8) & 0x000000FF);
			 transmitbuffer[41]=(uint8_t)(R_Front_WHL.signalPWM & 0x000000FF);

			 transmitbuffer[42]=(uint8_t)((R_Rear_WHL.signalPWM>>8) & 0x000000FF);
			 transmitbuffer[43]=(uint8_t)(R_Rear_WHL.signalPWM & 0x000000FF);
//			 HAL_UART_Transmit(&huart6, 0x00, 1, 100);
//			 datax=2;
//			 HAL_UART_Transmit(&huart6, &datax, 1, 100);
//			 datax=15;
//			 HAL_UART_Transmit(&huart6, &datax, 1, 100);
//			 HAL_UART_Transmit(&huart2, &datax, 1, 100);
			 HAL_UART_Transmit(&huart6, transmitbuffer, 44, 100);
}
/* USER CODE END 4 */

void Error_Handler(void)
{
  __disable_irq();
  while (1)
  {
  }
}
